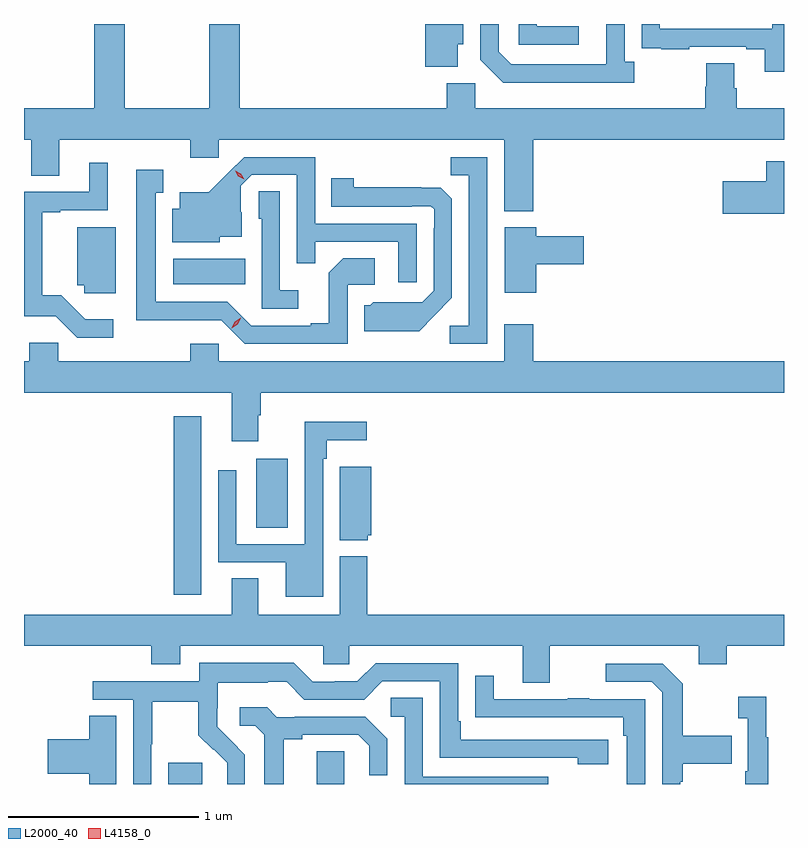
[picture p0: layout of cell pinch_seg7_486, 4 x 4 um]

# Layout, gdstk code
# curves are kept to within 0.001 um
import gdstk
lib = gdstk.Library(unit=1e-6, precision=1e-09)
def R(c, l, rs):  # rectangles x0, y0, x1, y1
    for r in rs: c.add(gdstk.rectangle(r[:2], r[2:], *l))
def P(c, l, *ps):  # polygons
    for p in ps: c.add(gdstk.Polygon(p, *l))
L2000_40 = (2000, 40)
L4158_0 = (4158, 0)

pinch_seg7_486 = lib.new_cell('pinch_seg7_486')
R(pinch_seg7_486, L2000_40, [(204.395,1062.492,204.574,1062.603), (205.175,1062.492,205.32,1062.665), (204.422,1063.488,204.568,1064.428), (204.857,1063.84,205.024,1064.203), (204.42,1065.122,204.8,1065.256)])
P(pinch_seg7_486, L2000_40, [(205.918,1066.385),(205.948,1066.385),(205.948,1066.492),(205.748,1066.492),(205.748,1066.266),(205.918,1066.266)],
  [(206.554,1066.479),(206.334,1066.479),(206.334,1066.492),(206.238,1066.492),(206.238,1066.383),(206.554,1066.383)],
  [(207.635,1066.492),(207.573,1066.492),(207.573,1066.467),(206.982,1066.467),(206.982,1066.492),(206.886,1066.492),(206.886,1066.474),(206.887,1066.474),(206.887,1066.365),(206.989,1066.365),(206.989,1066.359),(207.137,1066.359),(207.137,1066.371),(207.437,1066.371),(207.437,1066.359),(207.533,1066.359),(207.533,1066.242),(207.635,1066.242)],
  [(206.848,1066.294),(206.796,1066.294),(206.796,1066.492),(206.7,1066.492),(206.699,1066.281),(206.199,1066.281),(206.133,1066.347),(206.133,1066.492),(206.037,1066.492),(206.037,1066.305),(206.158,1066.184),(206.848,1066.184)],
  [(206.315,1065.884),(207.635,1065.884),(207.635,1066.048),(207.386,1066.048),(207.386,1066.154),(207.373,1066.154),(207.373,1066.286),(207.226,1066.286),(207.226,1066.161),(207.221,1066.161),(207.221,1066.048),(206.01,1066.048),(206.01,1066.18),(205.859,1066.18),(205.859,1066.048),(204.77,1066.048),(204.77,1066.492),(204.61,1066.492),(204.61,1066.048),(204.165,1066.048),(204.165,1066.492),(204.005,1066.492),(204.005,1066.048),(203.635,1066.048),(203.635,1065.884),(203.674,1065.884),(203.674,1065.694),(203.821,1065.694),(203.821,1065.884),(204.509,1065.884),(204.509,1065.789),(204.66,1065.789),(204.66,1065.884),(206.162,1065.884),(206.162,1065.506),(206.315,1065.506)],
  [(206.073,1065.792),(205.882,1065.792),(205.882,1065.697),(205.977,1065.697),(205.977,1064.904),(205.875,1064.904),(205.875,1064.808),(206.073,1064.808)],
  [(205.701,1065.441),(205.167,1065.441),(205.167,1065.792),(204.794,1065.792),(204.607,1065.607),(204.455,1065.607),(204.455,1065.52),(204.416,1065.52),(204.416,1065.344),(204.666,1065.344),(204.666,1065.371),(204.781,1065.371),(204.781,1065.5),(204.777,1065.5),(204.777,1065.642),(204.834,1065.699),(205.071,1065.699),(205.071,1065.232),(205.169,1065.232),(205.169,1065.345),(205.605,1065.345),(205.605,1065.132),(205.701,1065.132)],
  [(207.635,1065.769),(207.542,1065.769),(207.542,1065.664),(207.312,1065.664),(207.312,1065.494),(207.635,1065.494)],
  [(204.106,1064.938),(203.957,1064.938),(203.831,1065.064),(203.732,1065.064),(203.732,1065.501),(203.827,1065.501),(203.827,1065.513),(204.076,1065.513),(204.076,1065.763),(203.978,1065.763),(203.978,1065.609),(203.635,1065.609),(203.635,1064.954),(203.803,1064.954),(203.916,1064.841),(204.106,1064.841)],
  [(205.338,1065.12),(205.48,1065.12),(205.48,1065.26),(205.315,1065.26),(205.239,1065.184),(205.239,1064.917),(205.145,1064.917),(205.145,1064.904),(204.831,1064.904),(204.705,1065.03),(204.328,1065.03),(204.328,1065.603),(204.367,1065.603),(204.367,1065.724),(204.227,1065.724),(204.227,1064.933),(204.672,1064.934),(204.798,1064.808),(205.338,1064.808)],
  [(205.795,1064.957),(205.887,1065.05),(205.887,1065.572),(205.828,1065.631),(205.371,1065.632),(205.371,1065.679),(205.252,1065.679),(205.252,1065.531),(205.676,1065.531),(205.676,1065.534),(205.776,1065.534),(205.794,1065.516),(205.794,1065.416),(205.791,1065.416),(205.791,1065.087),(205.731,1065.027),(205.474,1065.028),(205.458,1065.012),(205.427,1065.012),(205.427,1064.876),(205.715,1064.876)],
  [(205.078,1065.091),(204.981,1065.091),(204.981,1065.611),(204.87,1065.611),(204.87,1065.468),(204.885,1065.468),(204.885,1064.994),(205.078,1064.994)],
  [(206.332,1065.227),(206.581,1065.227),(206.581,1065.374),(206.332,1065.374),(206.332,1065.421),(206.165,1065.421),(206.165,1065.078),(206.332,1065.078)],
  [(204.118,1065.421),(203.915,1065.421),(203.915,1065.116),(203.952,1065.116),(203.952,1065.074),(204.118,1065.074)],
  [(204.868,1064.432),(204.881,1064.432),(204.881,1064.552),(207.635,1064.552),(207.635,1064.716),(206.315,1064.716),(206.315,1064.911),(206.162,1064.911),(206.162,1064.716),(204.66,1064.716),(204.66,1064.809),(204.509,1064.809),(204.509,1064.716),(203.815,1064.716),(203.815,1064.814),(203.663,1064.814),(203.663,1064.716),(203.635,1064.716),(203.635,1064.552),(204.728,1064.552),(204.728,1064.295),(204.868,1064.295)],
  [(205.209,1064.204),(205.229,1064.204),(205.229,1064.3),(205.438,1064.3),(205.438,1064.398),(205.113,1064.398),(205.113,1063.755),(204.753,1063.755),(204.753,1064.143),(204.657,1064.143),(204.657,1063.659),(205.013,1063.659),(205.013,1063.478),(205.209,1063.478)],
  [(205.443,1063.8),(205.462,1063.8),(205.462,1064.161),(205.298,1064.161),(205.298,1063.775),(205.443,1063.775)],
  [(206.401,1063.22),(207.185,1063.22),(207.185,1063.121),(207.333,1063.121),(207.333,1063.22),(207.635,1063.22),(207.635,1063.384),(205.442,1063.384),(205.442,1063.69),(205.298,1063.69),(205.298,1063.384),(204.868,1063.384),(204.868,1063.574),(204.728,1063.574),(204.728,1063.384),(203.635,1063.384),(203.635,1063.22),(204.305,1063.22),(204.305,1063.121),(204.457,1063.121),(204.457,1063.22),(205.209,1063.22),(205.209,1063.122),(205.347,1063.122),(205.347,1063.22),(206.261,1063.22),(206.261,1063.026),(206.401,1063.026)],
  [(204.306,1062.7),(204.309,1062.7),(204.309,1062.924),(204.553,1062.924),(204.553,1062.749),(204.63,1062.672),(204.633,1062.675),(204.704,1062.605),(204.704,1062.492),(204.798,1062.492),(204.798,1062.646),(204.652,1062.794),(204.652,1062.891),(204.654,1062.891),(204.654,1063.025),(204.917,1063.025),(204.917,1063.029),(205.017,1063.029),(205.11,1062.936),(205.425,1062.936),(205.521,1063.032),(205.824,1063.032),(205.824,1062.63),(206.549,1062.63),(206.549,1062.596),(206.71,1062.596),(206.71,1062.726),(205.933,1062.726),(205.933,1062.823),(205.92,1062.823),(205.92,1063.128),(205.485,1063.128),(205.389,1063.032),(205.271,1063.032),(205.271,1063.029),(205.155,1063.029),(205.055,1063.129),(204.558,1063.129),(204.558,1063.032),(203.997,1063.032),(203.997,1062.936),(204.21,1062.936),(204.21,1062.492),(204.306,1062.492)],
  [(207.09,1062.503),(207.103,1062.503),(207.103,1062.599),(207.359,1062.599),(207.359,1062.747),(207.103,1062.747),(207.103,1063.019),(206.997,1063.125),(206.697,1063.125),(206.697,1063.029),(206.94,1063.029),(206.994,1062.975),(206.994,1062.492),(207.09,1062.492)],
  [(206.904,1062.939),(206.609,1062.939),(206.609,1062.944),(206.497,1062.944),(206.497,1062.939),(206.107,1062.939),(206.107,1063.063),(206.011,1063.063),(206.011,1062.844),(206.113,1062.844),(206.113,1062.843),(206.788,1062.843),(206.788,1062.746),(206.808,1062.746),(206.808,1062.492),(206.904,1062.492)],
  [(207.553,1062.739),(207.541,1062.739),(207.541,1062.952),(207.393,1062.952),(207.393,1062.839),(207.444,1062.839),(207.444,1062.559),(207.432,1062.559),(207.432,1062.492),(207.553,1062.492)],
  [(206.393,1062.531),(205.734,1062.531),(205.734,1062.947),(205.566,1062.947),(205.566,1062.846),(205.638,1062.846),(205.638,1062.492),(206.393,1062.492)],
  [(205.003,1062.728),(205.099,1062.728),(205.099,1062.75),(205.394,1062.75),(205.451,1062.693),(205.451,1062.537),(205.548,1062.537),(205.548,1062.73),(205.432,1062.846),(205.06,1062.846),(205.06,1062.843),(204.966,1062.843),(204.914,1062.895),(204.771,1062.895),(204.771,1062.798),(204.852,1062.798),(204.899,1062.751),(204.899,1062.492),(205.003,1062.492)],
  [(204.121,1062.851),(203.978,1062.851),(203.978,1062.728),(203.76,1062.728),(203.76,1062.545),(203.978,1062.545),(203.978,1062.492),(204.121,1062.492)])
P(pinch_seg7_486, L4158_0, [(204.793,1065.676),(204.763,1065.691),(204.746,1065.72),(204.746,1065.72),(204.746,1065.72),(204.776,1065.705),(204.794,1065.676),(204.794,1065.676)],
  [(204.728,1064.892),(204.728,1064.892),(204.745,1064.926),(204.776,1064.945),(204.776,1064.945),(204.776,1064.945),(204.76,1064.912),(204.728,1064.892)])

lib.write_gds('pinch_seg7_486.gds')
